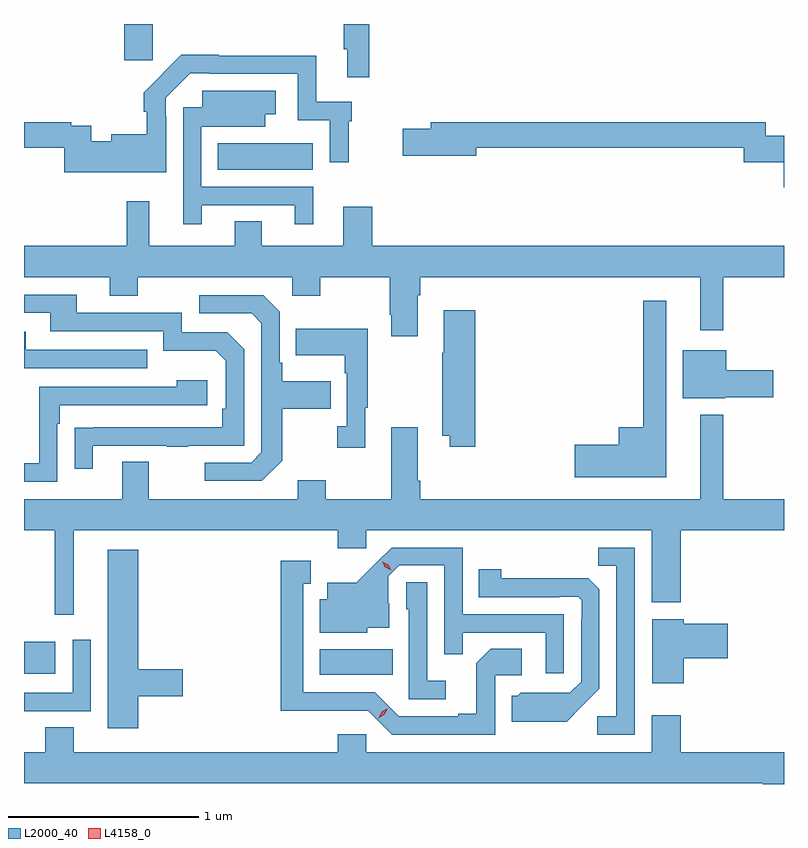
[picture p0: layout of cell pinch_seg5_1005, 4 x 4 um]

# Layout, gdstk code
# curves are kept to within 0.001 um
import gdstk
lib = gdstk.Library(unit=1e-6, precision=1e-09)
def R(c, l, rs):  # rectangles x0, y0, x1, y1
    for r in rs: c.add(gdstk.rectangle(r[:2], r[2:], *l))
def P(c, l, *ps):  # polygons
    for p in ps: c.add(gdstk.Polygon(p, *l))
L2000_40 = (2000, 40)
L4158_0 = (4158, 0)

pinch_seg5_1005 = lib.new_cell('pinch_seg5_1005')
R(pinch_seg5_1005, L2000_40, [(701.03,844.01,701.414,844.144), (699.473,844.016,699.637,844.186), (700.492,846.668,700.993,846.808), (700.001,847.245,700.151,847.436)])
P(pinch_seg5_1005, L2000_40, [(701.291,847.436),(701.155,847.436),(701.155,847.304),(701.174,847.304),(701.174,847.155),(701.291,847.155)],
  [(700.221,846.947),(700.218,846.947),(700.218,847.047),(700.347,847.176),(700.447,847.176),(700.447,847.173),(700.914,847.173),(700.914,846.93),(701.082,846.93),(701.082,846.708),(701.183,846.708),(701.183,846.923),(701.198,846.923),(701.198,847.026),(701.011,847.026),(701.011,847.27),(700.499,847.27),(700.499,847.273),(700.3,847.273),(700.103,847.075),(700.103,846.974),(700.118,846.974),(700.118,846.856),(699.932,846.856),(699.932,846.82),(699.826,846.82),(699.826,846.9),(699.722,846.9),(699.722,846.92),(699.473,846.92),(699.473,846.784),(699.686,846.784),(699.686,846.656),(700.221,846.656)],
  [(700.408,846.483),(700.898,846.483),(700.898,846.381),(700.996,846.381),(700.996,846.579),(700.407,846.579),(700.407,846.896),(700.744,846.896),(700.744,846.962),(700.798,846.962),(700.798,847.084),(700.41,847.084),(700.41,846.999),(700.311,846.999),(700.311,846.381),(700.408,846.381)],
  [(703.473,846.847),(703.377,846.847),(703.377,846.92),(701.615,846.92),(701.615,846.884),(701.466,846.884),(701.466,846.742),(701.854,846.742),(701.854,846.784),(703.261,846.784),(703.261,846.708),(703.472,846.708),(703.472,846.578),(703.473,846.578)],
  [(701.545,846.008),(701.558,846.008),(701.558,846.104),(703.031,846.104),(703.031,845.823),(703.153,845.823),(703.153,846.104),(703.473,846.104),(703.473,846.268),(701.306,846.268),(701.306,846.475),(701.153,846.475),(701.153,846.268),(700.723,846.268),(700.723,846.398),(700.583,846.398),(700.583,846.268),(700.133,846.268),(700.133,846.502),(700.015,846.502),(700.015,846.268),(699.473,846.268),(699.473,846.104),(699.923,846.104),(699.923,846.005),(700.071,846.005),(700.071,846.104),(700.884,846.104),(700.884,846.005),(701.031,846.005),(701.031,846.104),(701.398,846.104),(701.398,845.905),(701.405,845.905),(701.405,845.793),(701.545,845.793)],
  [(699.835,845.217),(700.225,845.217),(700.225,845.212),(700.337,845.212),(700.337,845.217),(700.632,845.217),(700.632,845.724),(700.542,845.814),(700.302,845.814),(700.302,845.916),(699.751,845.916),(699.751,846.012),(699.473,846.012),(699.473,845.916),(699.611,845.916),(699.611,845.82),(700.206,845.82),(700.206,845.717),(700.483,845.717),(700.536,845.664),(700.536,845.41),(700.516,845.41),(700.516,845.313),(699.739,845.312),(699.739,845.094),(699.835,845.094)],
  [(700.831,845.137),(700.831,845.41),(701.087,845.41),(701.087,845.557),(700.831,845.557),(700.831,845.653),(700.818,845.653),(700.818,845.922),(700.731,846.009),(700.395,846.009),(700.395,845.913),(700.671,845.913),(700.722,845.862),(700.722,845.181),(700.668,845.127),(700.425,845.127),(700.425,845.031),(700.725,845.031)],
  [(702.853,845.98),(702.732,845.98),(702.732,845.314),(702.602,845.314),(702.602,845.222),(702.372,845.222),(702.372,845.051),(702.853,845.051)],
  [(701.849,845.929),(701.681,845.929),(701.681,845.705),(701.674,845.705),(701.674,845.27),(701.714,845.27),(701.714,845.211),(701.849,845.211)],
  [(701.269,845.417),(701.281,845.417),(701.281,845.833),(700.903,845.833),(700.903,845.693),(701.16,845.693),(701.16,845.597),(701.172,845.597),(701.172,845.318),(701.121,845.318),(701.121,845.205),(701.269,845.205)],
  [(700.121,845.721),(699.481,845.721),(699.481,845.815),(699.473,845.815),(699.473,845.625),(700.121,845.625)],
  [(703.164,845.471),(703.417,845.471),(703.417,845.613),(703.168,845.613),(703.168,845.719),(702.941,845.719),(702.941,845.465),(703.164,845.465)],
  [(699.648,845.333),(699.661,845.333),(699.661,845.43),(700.438,845.43),(700.438,845.56),(700.277,845.56),(700.277,845.526),(699.552,845.526),(699.552,845.124),(699.473,845.124),(699.473,845.028),(699.648,845.028)],
  [(699.734,844.772),(701.123,844.772),(701.123,844.677),(701.274,844.677),(701.274,844.772),(702.776,844.772),(702.776,844.392),(702.929,844.392),(702.929,844.772),(703.473,844.772),(703.473,844.936),(703.153,844.936),(703.153,845.38),(703.031,845.38),(703.031,844.936),(701.558,844.936),(701.558,845.032),(701.545,845.032),(701.545,845.314),(701.405,845.314),(701.405,844.936),(701.061,844.936),(701.061,845.035),(700.913,845.035),(700.913,844.936),(700.129,844.936),(700.129,845.131),(699.989,845.131),(699.989,844.936),(699.473,844.936),(699.473,844.772),(699.635,844.772),(699.635,844.326),(699.734,844.326)],
  [(702.315,844.329),(701.781,844.329),(701.781,844.68),(701.408,844.68),(701.221,844.495),(701.069,844.495),(701.069,844.408),(701.03,844.408),(701.03,844.232),(701.28,844.232),(701.28,844.259),(701.395,844.259),(701.395,844.388),(701.391,844.388),(701.391,844.53),(701.448,844.587),(701.685,844.587),(701.685,844.12),(701.783,844.12),(701.783,844.233),(702.219,844.233),(702.219,844.02),(702.315,844.02)],
  [(702.687,844.68),(702.496,844.68),(702.496,844.585),(702.591,844.585),(702.591,843.792),(702.489,843.792),(702.489,843.696),(702.687,843.696)],
  [(700.073,843.898),(700.309,843.898),(700.309,844.04),(700.073,844.04),(700.073,844.669),(699.914,844.669),(699.914,843.729),(700.073,843.729)],
  [(701.952,844.008),(702.094,844.008),(702.094,844.148),(701.929,844.148),(701.853,844.072),(701.853,843.805),(701.759,843.805),(701.759,843.792),(701.445,843.792),(701.319,843.918),(700.942,843.918),(700.942,844.491),(700.981,844.491),(700.981,844.612),(700.824,844.612),(700.824,843.821),(701.286,843.822),(701.412,843.696),(701.952,843.696)],
  [(702.409,843.845),(702.501,843.938),(702.501,844.46),(702.442,844.519),(701.985,844.52),(701.985,844.567),(701.866,844.567),(701.866,844.419),(702.29,844.419),(702.29,844.422),(702.39,844.422),(702.408,844.404),(702.408,844.304),(702.405,844.304),(702.405,843.975),(702.345,843.915),(702.088,843.916),(702.072,843.9),(702.041,843.9),(702.041,843.764),(702.329,843.764)],
  [(701.692,843.979),(701.595,843.979),(701.595,844.499),(701.484,844.499),(701.484,844.356),(701.499,844.356),(701.499,843.882),(701.692,843.882)],
  [(702.946,844.097),(703.177,844.097),(703.177,844.28),(702.946,844.28),(702.946,844.303),(702.779,844.303),(702.779,843.966),(702.946,843.966)],
  [(699.5,843.819),(699.825,843.819),(699.825,844.195),(699.729,844.195),(699.729,843.915),(699.473,843.915),(699.473,843.818),(699.5,843.818)],
  [(703.473,843.604),(702.929,843.604),(702.929,843.799),(702.776,843.799),(702.776,843.604),(701.274,843.604),(701.274,843.697),(701.123,843.697),(701.123,843.604),(699.736,843.604),(699.736,843.734),(699.584,843.734),(699.584,843.604),(699.473,843.604),(699.473,843.44),(703.361,843.44),(703.361,843.436),(703.473,843.436)])
P(pinch_seg5_1005, L4158_0, [(701.406,844.561),(701.375,844.577),(701.358,844.607),(701.358,844.607),(701.359,844.607),(701.389,844.591),(701.406,844.561),(701.406,844.561)],
  [(701.339,843.783),(701.339,843.784),(701.356,843.816),(701.388,843.836),(701.388,843.836),(701.388,843.835),(701.371,843.803),(701.339,843.783)])

lib.write_gds('pinch_seg5_1005.gds')
